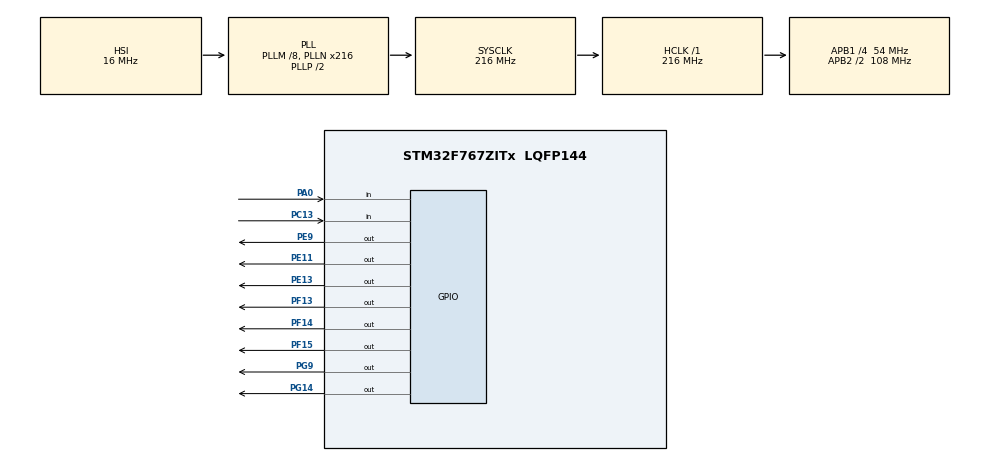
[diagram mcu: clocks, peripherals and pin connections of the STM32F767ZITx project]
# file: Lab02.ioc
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Mcu.Family=STM32F7
Mcu.Name=STM32F767ZITx
Mcu.Package=LQFP144
NVIC.PriorityGroup=NVIC_PRIORITYGROUP_4
PA0/WKUP.Signal=GPIO_Input
PC13.Signal=GPIO_Input
PE11.Signal=GPIO_Output
PE13.Signal=GPIO_Output
PE9.Signal=GPIO_Output
PF13.Signal=GPIO_Output
PF14.Signal=GPIO_Output
PF15.Signal=GPIO_Output
PG14.Signal=GPIO_Output
PG9.Signal=GPIO_Output
ProjectManager.HeapSize=0x200
ProjectManager.StackSize=0x400
ProjectManager.TargetToolchain=STM32CubeIDE
RCC.AHBFreq_Value=216000000
RCC.APB1CLKDivider=RCC_HCLK_DIV4
RCC.APB1Freq_Value=54000000
RCC.APB1TimFreq_Value=108000000
RCC.APB2CLKDivider=RCC_HCLK_DIV2
RCC.APB2Freq_Value=108000000
RCC.APB2TimFreq_Value=216000000
RCC.CortexFreq_Value=216000000
RCC.HCLKFreq_Value=216000000
RCC.HSE_VALUE=25000000
RCC.HSI_VALUE=16000000
RCC.LSE_VALUE=32768
RCC.PLLM=8
RCC.PLLN=216
RCC.SYSCLKFreq_VALUE=216000000
RCC.SYSCLKSource=RCC_SYSCLKSOURCE_PLLCLK
RCC.USBFreq_Value=216000000
RCC.VCOOutputFreq_Value=432000000
board=custom

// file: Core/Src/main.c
/* USER CODE BEGIN Header */
/**
  ******************************************************************************
  * @file           : main.c
  * @brief          : Main program body
  ******************************************************************************
  * @attention
  *
  * Copyright (c) 2023 STMicroelectronics.
  * All rights reserved.
  *
  * This software is licensed under terms that can be found in the LICENSE file
  * in the root directory of this software component.
  * If no LICENSE file comes with this software, it is provided AS-IS.
  *
  ******************************************************************************
  */
/* USER CODE END Header */
#include "main.h"
#include "gpio.h"

void SystemClock_Config(void);

/* USER CODE BEGIN 0 */
int	d = -1;
int pushB1 = 0;
int n = 0;
int init = 1;
/* USER CODE END 0 */

int main(void)
{

  /* MCU Configuration--------------------------------------------------------*/

  /* Reset of all peripherals, Initializes the Flash interface and the Systick. */
  HAL_Init();

  /* Configure the system clock */
  SystemClock_Config();

  /* Initialize all configured peripherals */
  MX_GPIO_Init();

  /* Infinite loop */
  while (1)
  {

    /* USER CODE BEGIN 3 */
	  if (HAL_GPIO_ReadPin(GPIOC, GPIO_PIN_13))
	  {
		  pushB1 = 1;
		  init = 0;
	  }
	  if(pushB1)
	  {
		  d++;
		  if (d == 8)
			  d = 0;
		  HAL_GPIO_WritePin(GPIOG, GPIO_PIN_9, (d == 0) ? GPIO_PIN_SET : GPIO_PIN_RESET);
		  HAL_GPIO_WritePin(GPIOG, GPIO_PIN_14, (d == 1) ? GPIO_PIN_SET : GPIO_PIN_RESET);
		  HAL_GPIO_WritePin(GPIOF, GPIO_PIN_15, (d == 2) ? GPIO_PIN_SET : GPIO_PIN_RESET);
		  HAL_GPIO_WritePin(GPIOE, GPIO_PIN_13, (d == 3) ? GPIO_PIN_SET : GPIO_PIN_RESET);
		  HAL_GPIO_WritePin(GPIOF, GPIO_PIN_14, (d == 4) ? GPIO_PIN_SET : GPIO_PIN_RESET);
		  HAL_GPIO_WritePin(GPIOE, GPIO_PIN_11, (d == 5) ? GPIO_PIN_SET : GPIO_PIN_RESET);
		  HAL_GPIO_WritePin(GPIOE, GPIO_PIN_9, (d == 6) ? GPIO_PIN_SET : GPIO_PIN_RESET);
		  HAL_GPIO_WritePin(GPIOF, GPIO_PIN_13, (d == 7) ? GPIO_PIN_SET : GPIO_PIN_RESET);
		  HAL_Delay(200);
		  pushB1 = 0;
	  }
	  if (HAL_GPIO_ReadPin(GPIOA, GPIO_PIN_0) == GPIO_PIN_RESET)
	  {
		  while (n < 8)
		  {
			  d--;
			  if (d < 0)
				  d = 7;
			  HAL_GPIO_WritePin(GPIOG, GPIO_PIN_9, (d == 0) ? GPIO_PIN_SET : GPIO_PIN_RESET);
			  HAL_GPIO_WritePin(GPIOG, GPIO_PIN_14, (d == 1) ? GPIO_PIN_SET : GPIO_PIN_RESET);
			  HAL_GPIO_WritePin(GPIOF, GPIO_PIN_15, (d == 2) ? GPIO_PIN_SET : GPIO_PIN_RESET);
			  HAL_GPIO_WritePin(GPIOE, GPIO_PIN_13, (d == 3) ? GPIO_PIN_SET : GPIO_PIN_RESET);
			  HAL_GPIO_WritePin(GPIOF, GPIO_PIN_14, (d == 4) ? GPIO_PIN_SET : GPIO_PIN_RESET);
			  HAL_GPIO_WritePin(GPIOE, GPIO_PIN_11, (d == 5) ? GPIO_PIN_SET : GPIO_PIN_RESET);
			  HAL_GPIO_WritePin(GPIOE, GPIO_PIN_9, (d == 6) ? GPIO_PIN_SET : GPIO_PIN_RESET);
			  HAL_GPIO_WritePin(GPIOF, GPIO_PIN_13, (d == 7) ? GPIO_PIN_SET : GPIO_PIN_RESET);
			  HAL_Delay(500);
			  n++;
		  }
		  if (init)
		  {
			  HAL_GPIO_WritePin(GPIOG, GPIO_PIN_9, GPIO_PIN_RESET);
			  HAL_GPIO_WritePin(GPIOG, GPIO_PIN_14, GPIO_PIN_RESET);
			  HAL_GPIO_WritePin(GPIOF, GPIO_PIN_15, GPIO_PIN_RESET);
			  HAL_GPIO_WritePin(GPIOE, GPIO_PIN_13, GPIO_PIN_RESET);
			  HAL_GPIO_WritePin(GPIOF, GPIO_PIN_14, GPIO_PIN_RESET);
			  HAL_GPIO_WritePin(GPIOE, GPIO_PIN_11, GPIO_PIN_RESET);
			  HAL_GPIO_WritePin(GPIOE, GPIO_PIN_9, GPIO_PIN_RESET);
			  HAL_GPIO_WritePin(GPIOF, GPIO_PIN_13, GPIO_PIN_RESET);
			  d = -1;
		  }
		  n = 0;
	  }

  }
  /* USER CODE END 3 */
}

void SystemClock_Config(void)
{
  RCC_OscInitTypeDef RCC_OscInitStruct = {0};
  RCC_ClkInitTypeDef RCC_ClkInitStruct = {0};

  /** Configure the main internal regulator output voltage
  */
  __HAL_RCC_PWR_CLK_ENABLE();
  __HAL_PWR_VOLTAGESCALING_CONFIG(PWR_REGULATOR_VOLTAGE_SCALE1);

  /** Initializes the RCC Oscillators according to the specified parameters
  * in the RCC_OscInitTypeDef structure.
  */
  RCC_OscInitStruct.OscillatorType = RCC_OSCILLATORTYPE_HSI;
  RCC_OscInitStruct.HSIState = RCC_HSI_ON;
  RCC_OscInitStruct.HSICalibrationValue = RCC_HSICALIBRATION_DEFAULT;
  RCC_OscInitStruct.PLL.PLLState = RCC_PLL_ON;
  RCC_OscInitStruct.PLL.PLLSource = RCC_PLLSOURCE_HSI;
  RCC_OscInitStruct.PLL.PLLM = 8;
  RCC_OscInitStruct.PLL.PLLN = 216;
  RCC_OscInitStruct.PLL.PLLP = RCC_PLLP_DIV2;
  RCC_OscInitStruct.PLL.PLLQ = 2;
  RCC_OscInitStruct.PLL.PLLR = 2;
  if (HAL_RCC_OscConfig(&RCC_OscInitStruct) != HAL_OK)
  {
    Error_Handler();
  }

  /** Activate the Over-Drive mode
  */
  if (HAL_PWREx_EnableOverDrive() != HAL_OK)
  {
    Error_Handler();
  }

  /** Initializes the CPU, AHB and APB buses clocks
  */
  RCC_ClkInitStruct.ClockType = RCC_CLOCKTYPE_HCLK|RCC_CLOCKTYPE_SYSCLK
                              |RCC_CLOCKTYPE_PCLK1|RCC_CLOCKTYPE_PCLK2;
  RCC_ClkInitStruct.SYSCLKSource = RCC_SYSCLKSOURCE_PLLCLK;
  RCC_ClkInitStruct.AHBCLKDivider = RCC_SYSCLK_DIV1;
  RCC_ClkInitStruct.APB1CLKDivider = RCC_HCLK_DIV4;
  RCC_ClkInitStruct.APB2CLKDivider = RCC_HCLK_DIV2;

  if (HAL_RCC_ClockConfig(&RCC_ClkInitStruct, FLASH_LATENCY_7) != HAL_OK)
  {
    Error_Handler();
  }
}

void Error_Handler(void)
{
  __disable_irq();
  while (1)
  {
  }
}
